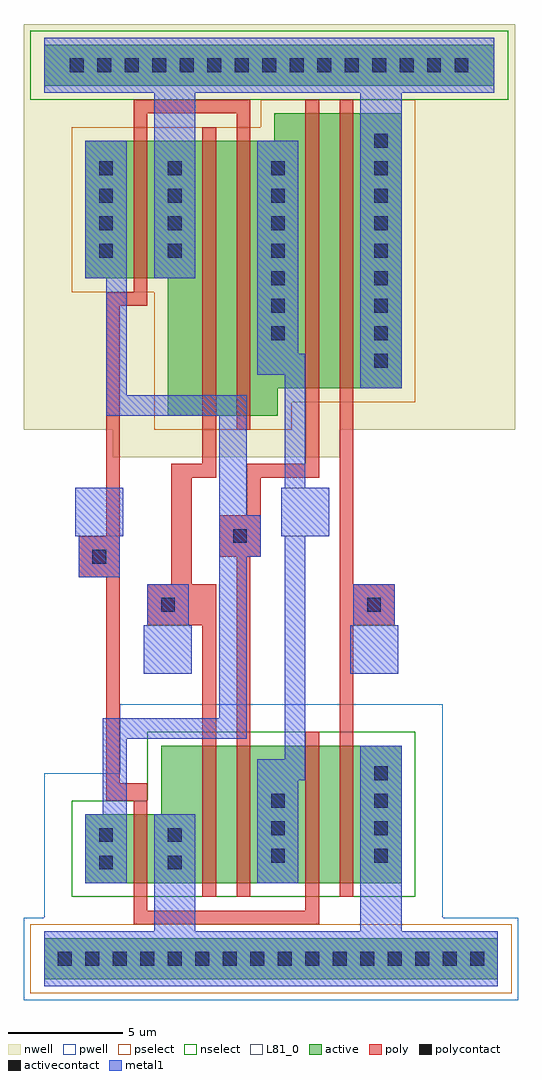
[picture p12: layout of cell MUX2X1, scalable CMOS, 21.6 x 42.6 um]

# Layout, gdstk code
import gdstk
lib = gdstk.Library(unit=1e-6, precision=1e-09)
def R(c, l, rs):  # rectangles x0, y0, x1, y1
    for r in rs: c.add(gdstk.rectangle(r[:2], r[2:], *l))
def A(c, l, x, y, w, h, nx, ny, dx, dy):  # array of equal rectangles
    R(c, l, [(x+i*dx, y+j*dy, x+i*dx+w, y+j*dy+h) for i in range(nx) for j in range(ny)])
pwell = (41, 0)
nwell = (42, 0)
active = (43, 0)
pselect = (44, 0)
nselect = (45, 0)
poly = (46, 0)
polycontact = (47, 0)
activecontact = (48, 0)
metal1 = (49, 0)
L81_0 = (81, 0)

mux2x1 = lib.new_cell('MUX2X1')
R(mux2x1, pwell, [(-1.8,-1.8,19.8,1.8), (-0.9,1.8,16.5,8.1), (2.4,8.1,16.5,11.1)])
R(mux2x1, nwell, [(2.1,21.9,12,23.1), (-1.8,23.1,19.65,40.8)])
R(mux2x1, active, [(-0.9,-0.9,18.9,0.9), (0.9,3.3,14.7,6.3), (4.2,6.3,14.7,9.3), (4.5,23.7,9.3,24.9), (4.5,24.9,14.7,29.7), (0.9,29.7,14.7,35.7), (9.15,35.7,14.7,36.9), (-0.9,38.1,18.75,39.9)])
R(mux2x1, pselect, [(-1.5,-1.5,19.5,1.5), (3.9,23.1,9.9,24.3), (3.9,24.3,15.3,29.1), (0.3,29.1,15.3,36.3), (8.55,36.3,15.3,37.5)])
R(mux2x1, nselect, [(0.3,2.7,15.3,6.9), (3.6,6.9,15.3,9.9), (-1.5,37.5,19.35,40.5)])
R(mux2x1, poly, [(3,1.5,11.1,2.1), (3,2.1,3.6,6.9), (10.5,2.1,11.1,9.9), (6,2.7,6.6,14.55), (7.5,2.7,8.1,17.55), (12,2.7,12.6,14.55), (1.8,6.9,3.6,7.65), (1.8,7.65,2.4,16.65), (3.6,14.55,6.6,16.35), (12,14.55,14.4,16.35), (4.65,16.35,5.55,21), (12,16.35,12.6,37.5), (0.6,16.65,2.4,18.45), (6.75,17.55,8.55,19.35), (1.8,18.45,2.4,28.5), (7.95,19.35,8.55,21), (4.65,21,6.6,21.6), (7.95,21,11.1,21.6), (6,21.6,6.6,36.3), (10.5,21.6,11.1,37.5), (7.5,23.1,8.1,36.9), (1.8,28.5,3.6,29.1), (3,29.1,3.6,36.9), (3,36.9,8.1,37.5)])
R(mux2x1, polycontact, [(4.2,15.15,4.8,15.75), (13.2,15.15,13.8,15.75), (1.2,17.25,1.8,17.85), (7.35,18.15,7.95,18.75)])
A(mux2x1, activecontact, -0.3, -0.3, 0.6, 0.6, 16, 1, 1.2, 0)
A(mux2x1, activecontact, 9, 4.2, 0.6, 0.6, 1, 3, 0, 1.2)
A(mux2x1, activecontact, 13.5, 4.2, 0.6, 0.6, 1, 4, 0, 1.2)
A(mux2x1, activecontact, 13.5, 25.8, 0.6, 0.6, 1, 4, 0, 1.2)
A(mux2x1, activecontact, 9, 27, 0.6, 0.6, 1, 3, 0, 1.2)
A(mux2x1, activecontact, 1.5, 30.6, 0.6, 0.6, 1, 4, 0, 1.2)
A(mux2x1, activecontact, 4.5, 30.6, 0.6, 0.6, 3, 4, 4.5, 1.2)
A(mux2x1, activecontact, 0.22, 38.7, 0.6, 0.6, 15, 1, 1.2, 0)
R(mux2x1, activecontact, [(1.5,3.9,2.1,4.5), (4.5,3.9,5.1,4.5), (1.5,5.1,2.1,5.7), (4.5,5.1,5.1,5.7), (13.5,35.4,14.1,36)])
R(mux2x1, metal1, [(-0.9,-1.2,18.9,1.2), (3.9,1.2,5.7,6.3), (12.9,1.2,14.7,9.3), (0.9,3.3,2.7,6.3), (8.4,3.3,10.2,7.8), (1.65,6.3,2.7,9.6), (8.4,7.8,10.5,8.7), (9.6,8.7,10.5,18.45), (1.65,9.6,7.95,10.5), (6.75,10.5,7.95,17.55), (3.45,12.45,5.55,14.55), (12.45,12.45,14.55,14.55), (3.6,14.55,5.4,16.35), (12.6,14.55,14.4,16.35), (0.6,16.65,2.4,18.45), (6.75,17.55,8.55,19.35), (0.45,18.45,2.55,20.55), (9.45,18.45,11.55,20.55), (6.75,19.35,7.95,23.7), (9.6,20.55,10.5,25.5), (1.8,23.7,7.95,24.6), (1.8,24.6,2.7,29.7), (12.9,24.9,14.7,37.8), (8.4,25.5,10.5,26.4), (8.4,26.4,10.2,35.7), (0.9,29.7,2.7,35.7), (3.9,29.7,5.7,37.8), (-0.9,37.8,18.75,40.2)])
R(mux2x1, L81_0, [(3.45,12.45,5.55,14.55), (12.45,12.45,14.55,14.55), (0.45,18.45,2.55,20.55), (9.45,18.45,11.55,20.55)])

lib.write_gds('MUX2X1.gds')
